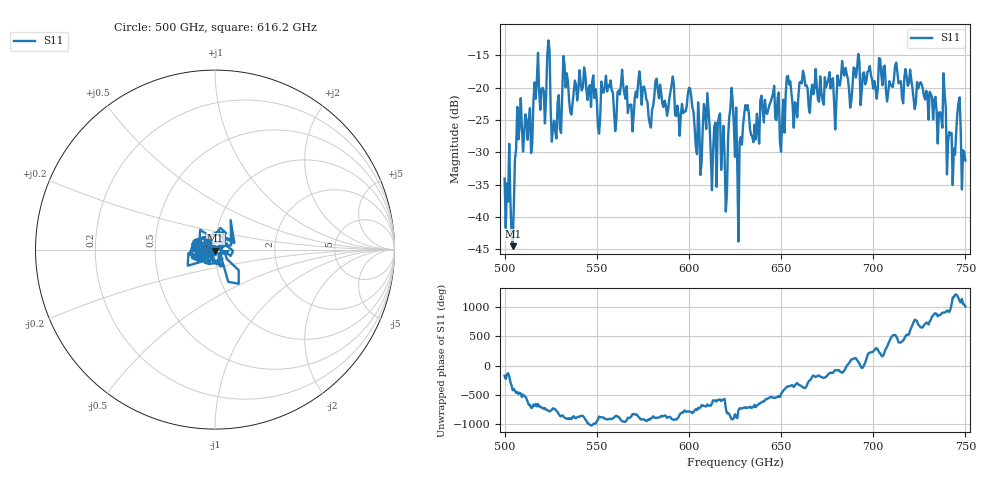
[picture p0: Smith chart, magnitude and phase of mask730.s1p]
!Created with skrf (http://scikit-rf.org).
# GHz S MA R 50.0
!freq magS11 angS11
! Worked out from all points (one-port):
!   401 points, 500 GHz to 750 GHz, reference 50 ohm
!   lowest |S11| = -44.5 dB at 504.4 GHz (marker M1), VSWR 1.01, Z = 50.3 - j0.533 ohm
!   |S11| at or under -10 dB: start of sweep to end of sweep
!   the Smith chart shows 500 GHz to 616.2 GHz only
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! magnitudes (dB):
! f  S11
! 500 GHz  -34.0
! 504.4 GHz  -44.5
! 508.1 GHz  -25.9
! 513.8 GHz  -23.2
! 516.9 GHz  -21.7
! 523.8 GHz  -12.7
! 526.9 GHz  -25.1
! 531.2 GHz  -21.1
! 562.5 GHz  -21.0
! 579.4 GHz  -26.2
! 590.6 GHz  -19.5
! 593.8 GHz  -22.8
! 600.6 GHz  -20.1
! 605.6 GHz  -25.9
! 609.4 GHz  -26.4
! 619.4 GHz  -30.8
! 622.5 GHz  -23.2
! 625 GHz  -30.7
! 627.5 GHz  -28.3
! 631.2 GHz  -23.4
! 635 GHz  -28.4
! 656.2 GHz  -22.7
! 687.5 GHz  -23.1
! 718.8 GHz  -19.7
! 738.1 GHz  -17.8
! 743.1 GHz  -35.0
! 746.2 GHz  -22.3
! 750 GHz  -31.3
